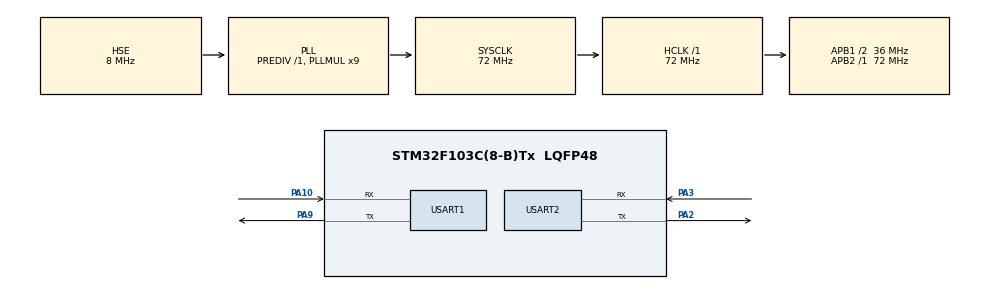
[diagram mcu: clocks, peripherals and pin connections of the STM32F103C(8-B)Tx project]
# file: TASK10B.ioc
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Mcu.Family=STM32F1
Mcu.Name=STM32F103C(8-B)Tx
Mcu.Package=LQFP48
NVIC.PriorityGroup=NVIC_PRIORITYGROUP_4
PA10.Mode=Asynchronous
PA10.Signal=USART1_RX
PA13.Mode=Serial_Wire
PA13.Signal=SYS_JTMS-SWDIO
PA14.Mode=Serial_Wire
PA14.Signal=SYS_JTCK-SWCLK
PA2.Mode=Asynchronous
PA2.Signal=USART2_TX
PA3.Mode=Asynchronous
PA3.Signal=USART2_RX
PA9.Mode=Asynchronous
PA9.Signal=USART1_TX
PD0-OSC_IN.Mode=HSE-External-Oscillator
PD0-OSC_IN.Signal=RCC_OSC_IN
PD1-OSC_OUT.Mode=HSE-External-Oscillator
PD1-OSC_OUT.Signal=RCC_OSC_OUT
ProjectManager.HeapSize=0x200
ProjectManager.StackSize=0x400
ProjectManager.TargetToolchain=STM32CubeIDE
RCC.AHBFreq_Value=72000000
RCC.APB1CLKDivider=RCC_HCLK_DIV2
RCC.APB1Freq_Value=36000000
RCC.APB1TimFreq_Value=72000000
RCC.APB2Freq_Value=72000000
RCC.APB2TimFreq_Value=72000000
RCC.HCLKFreq_Value=72000000
RCC.PLLMUL=RCC_PLL_MUL9
RCC.PLLSourceVirtual=RCC_PLLSOURCE_HSE
RCC.SYSCLKFreq_VALUE=72000000
RCC.SYSCLKSource=RCC_SYSCLKSOURCE_PLLCLK
RCC.USBFreq_Value=72000000
USART1.VirtualMode=VM_ASYNC
USART2.VirtualMode=VM_ASYNC
board=custom

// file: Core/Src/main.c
/* USER CODE BEGIN Header */
/**
  ******************************************************************************
  * @file           : main.c
  * @brief          : Main program body
  ******************************************************************************
  * @attention
  *
  * Copyright (c) 2026 STMicroelectronics.
  * All rights reserved.
  *
  * This software is licensed under terms that can be found in the LICENSE file
  * in the root directory of this software component.
  * If no LICENSE file comes with this software, it is provided AS-IS.
  *
  ******************************************************************************
  */
/* USER CODE END Header */
#include "main.h"

/* USER CODE BEGIN Includes */
#include <string.h>
#include <stdio.h>
/* USER CODE END Includes */

UART_HandleTypeDef huart1;
UART_HandleTypeDef huart2;

void SystemClock_Config(void);
static void MX_GPIO_Init(void);
static void MX_USART1_UART_Init(void);
static void MX_USART2_UART_Init(void);

/* USER CODE BEGIN 0 */
// UART Related
void sendUART(UART_HandleTypeDef *huart, char inp[]) {
    HAL_UART_Transmit(huart, (uint8_t *)inp, strlen(inp), HAL_MAX_DELAY);
    HAL_UART_Transmit(huart, (uint8_t *)"\r\n", 2, HAL_MAX_DELAY);
}

void recieveUART(UART_HandleTypeDef *huart, char* buf,int size) {
	uint8_t c;
	int lInd = 0;
	while (1) {
		if (HAL_UART_Receive(huart, &c, 1, HAL_MAX_DELAY) == HAL_OK) {
			if ((c == '\r') || (c == '\n')) {
				if (lInd > 0) {
					buf[lInd] = '\0';
					return;
				}
			} else if (lInd < size - 1) {
				buf[lInd++] = c;
			}
		}
	}
}

// Wifi Related
int sendATCommand(UART_HandleTypeDef *huart, char atCMD[],char *output,int outputSize) {
	output[0] = '\0';
	sendUART(huart, atCMD);
	char recBuf[64];
	while (1) {
		recieveUART(huart, recBuf, 64);
		strncat(output,recBuf, outputSize - strlen(output) - 1);
		strncat(output,"\r\n", outputSize - strlen(output) - 1);
		if (strcmp(recBuf, "OK") == 0) {
			return 1;
		} else if (strcmp(recBuf, "ERROR") == 0 || strcmp(recBuf, "FAIL") == 0) {
			return 0;
		}
	}
}

int initWifi(UART_HandleTypeDef *huart) {
	HAL_Delay(2000);
	__HAL_UART_CLEAR_OREFLAG(huart);
	char buf[32];
	sendATCommand(huart, "ATE0", buf, sizeof(buf));
	return sendATCommand(huart, "AT", buf, sizeof(buf));
}

int setMode(UART_HandleTypeDef *huart, char mode[], char *outBuf,int outBufSize) {
	outBuf[0] = '\0';
	char toSend[16];
	if (strcmp(mode,"STATION") == 0) {
		strcpy(toSend,"AT+CWMODE=1");
	} else if (strcmp(mode,"AP") == 0) {
		strcpy(toSend,"AT+CWMODE=2");
	} else if (strcmp(mode,"STATION_AP") == 0) {
		strcpy(toSend,"AT+CWMODE=3");
	} else {
		return -1;
	}
	return sendATCommand(huart, toSend, outBuf, outBufSize);
}

int joinAP(UART_HandleTypeDef *huart, char ssid[], char password[], char *outBuf,int outBufSize) {
	outBuf[0] = '\0';
	char toSend[128] = "AT+CWJAP=\"";
	strcat(toSend, ssid);
	strcat(toSend, "\",\"");
	strcat(toSend,password);
	strcat(toSend,"\"");
	return sendATCommand(huart, toSend, outBuf, outBufSize);
}

int getMAC(UART_HandleTypeDef *huart, char* macBuf,int macBufSize) {
	macBuf[0] = '\0';
	char outBuf[256];
	int ret = sendATCommand(huart, "AT+CIFSR", outBuf, sizeof(outBuf));
	if (ret) {
		char *mac = strstr(outBuf,"STAMAC");
		if (mac == NULL) {
			return 0;
		} else {
			mac += 8;
			int lastInd = 0;
			while (lastInd < macBufSize - 1 && *mac != '\0') {
				if (*mac == '\"') break;
				macBuf[lastInd++] = *mac;
				mac++;
			}
			macBuf[lastInd] = '\0';
		}
	}
	return ret;
}

int getIP(UART_HandleTypeDef *huart, char* ipBuf,int ipBufSize) {
	ipBuf[0] = '\0';
	char outBuf[256];
	int ret = sendATCommand(huart, "AT+CIFSR", outBuf, sizeof(outBuf));
	if (ret) {
		char *ip = strstr(outBuf,"STAIP");
		if (ip == NULL) {
			return 0;
		} else {
			ip += 7;
			int lastInd = 0;
			while (lastInd < ipBufSize - 1 && *ip != '\0') {
				if (*ip == '\"') break;
				ipBuf[lastInd++] = *ip;
				ip++;
			}
			ipBuf[lastInd] = '\0';
		}
	}
	return ret;
}

// Send an AT command to the Wemos and show the exchange on the PC terminal
char atResponse[1024];
int showATCommand(char atCMD[]) {
	char line[128];
	snprintf(line, sizeof(line), ">> %s", atCMD);
	sendUART(&huart2, line);
	int ret = sendATCommand(&huart1, atCMD, atResponse, sizeof(atResponse));
	char *start = atResponse;
	char *end;
	while ((end = strstr(start, "\r\n")) != NULL) {
		*end = '\0';
		snprintf(line, sizeof(line), "<< %.120s", start);
		sendUART(&huart2, line);
		start = end + 2;
	}
	return ret;
}
/* USER CODE END 0 */

int main(void)
{

  /* MCU Configuration--------------------------------------------------------*/

  /* Reset of all peripherals, Initializes the Flash interface and the Systick. */
  HAL_Init();

  /* Configure the system clock */
  SystemClock_Config();

  /* Initialize all configured peripherals */
  MX_GPIO_Init();
  MX_USART1_UART_Init();
  MX_USART2_UART_Init();
  /* USER CODE BEGIN 2 */
  char buf[32];
  sendUART(&huart2, "STM32-WiFi MODEM TEST");
  HAL_Delay(2000);
  __HAL_UART_CLEAR_OREFLAG(&huart1);
  sendATCommand(&huart1, "ATE0", buf, sizeof(buf));
  // Check modem response
  showATCommand("AT");
  // Check firmware/version
  showATCommand("AT+GMR");
  // Set Wi-Fi station mode
  showATCommand("AT+CWMODE=1");
  // Scan available networks
  showATCommand("AT+CWLAP");
  /* USER CODE END 2 */

  /* Infinite loop */
  while (1)
  {

  }
}

void SystemClock_Config(void)
{
  RCC_OscInitTypeDef RCC_OscInitStruct = {0};
  RCC_ClkInitTypeDef RCC_ClkInitStruct = {0};

  /** Initializes the RCC Oscillators according to the specified parameters
  * in the RCC_OscInitTypeDef structure.
  */
  RCC_OscInitStruct.OscillatorType = RCC_OSCILLATORTYPE_HSE;
  RCC_OscInitStruct.HSEState = RCC_HSE_ON;
  RCC_OscInitStruct.HSEPredivValue = RCC_HSE_PREDIV_DIV1;
  RCC_OscInitStruct.HSIState = RCC_HSI_ON;
  RCC_OscInitStruct.PLL.PLLState = RCC_PLL_ON;
  RCC_OscInitStruct.PLL.PLLSource = RCC_PLLSOURCE_HSE;
  RCC_OscInitStruct.PLL.PLLMUL = RCC_PLL_MUL9;
  if (HAL_RCC_OscConfig(&RCC_OscInitStruct) != HAL_OK)
  {
    Error_Handler();
  }

  /** Initializes the CPU, AHB and APB buses clocks
  */
  RCC_ClkInitStruct.ClockType = RCC_CLOCKTYPE_HCLK|RCC_CLOCKTYPE_SYSCLK
                              |RCC_CLOCKTYPE_PCLK1|RCC_CLOCKTYPE_PCLK2;
  RCC_ClkInitStruct.SYSCLKSource = RCC_SYSCLKSOURCE_PLLCLK;
  RCC_ClkInitStruct.AHBCLKDivider = RCC_SYSCLK_DIV1;
  RCC_ClkInitStruct.APB1CLKDivider = RCC_HCLK_DIV2;
  RCC_ClkInitStruct.APB2CLKDivider = RCC_HCLK_DIV1;

  if (HAL_RCC_ClockConfig(&RCC_ClkInitStruct, FLASH_LATENCY_2) != HAL_OK)
  {
    Error_Handler();
  }
}

static void MX_USART1_UART_Init(void)
{

  huart1.Instance = USART1;
  huart1.Init.BaudRate = 115200;
  huart1.Init.WordLength = UART_WORDLENGTH_8B;
  huart1.Init.StopBits = UART_STOPBITS_1;
  huart1.Init.Parity = UART_PARITY_NONE;
  huart1.Init.Mode = UART_MODE_TX_RX;
  huart1.Init.HwFlowCtl = UART_HWCONTROL_NONE;
  huart1.Init.OverSampling = UART_OVERSAMPLING_16;
  if (HAL_UART_Init(&huart1) != HAL_OK)
  {
    Error_Handler();
  }

}

static void MX_USART2_UART_Init(void)
{

  huart2.Instance = USART2;
  huart2.Init.BaudRate = 115200;
  huart2.Init.WordLength = UART_WORDLENGTH_8B;
  huart2.Init.StopBits = UART_STOPBITS_1;
  huart2.Init.Parity = UART_PARITY_NONE;
  huart2.Init.Mode = UART_MODE_TX_RX;
  huart2.Init.HwFlowCtl = UART_HWCONTROL_NONE;
  huart2.Init.OverSampling = UART_OVERSAMPLING_16;
  if (HAL_UART_Init(&huart2) != HAL_OK)
  {
    Error_Handler();
  }

}

static void MX_GPIO_Init(void)
{

  /* GPIO Ports Clock Enable */
  __HAL_RCC_GPIOD_CLK_ENABLE();
  __HAL_RCC_GPIOA_CLK_ENABLE();

}

void Error_Handler(void)
{
  __disable_irq();
  while (1)
  {
  }
}
